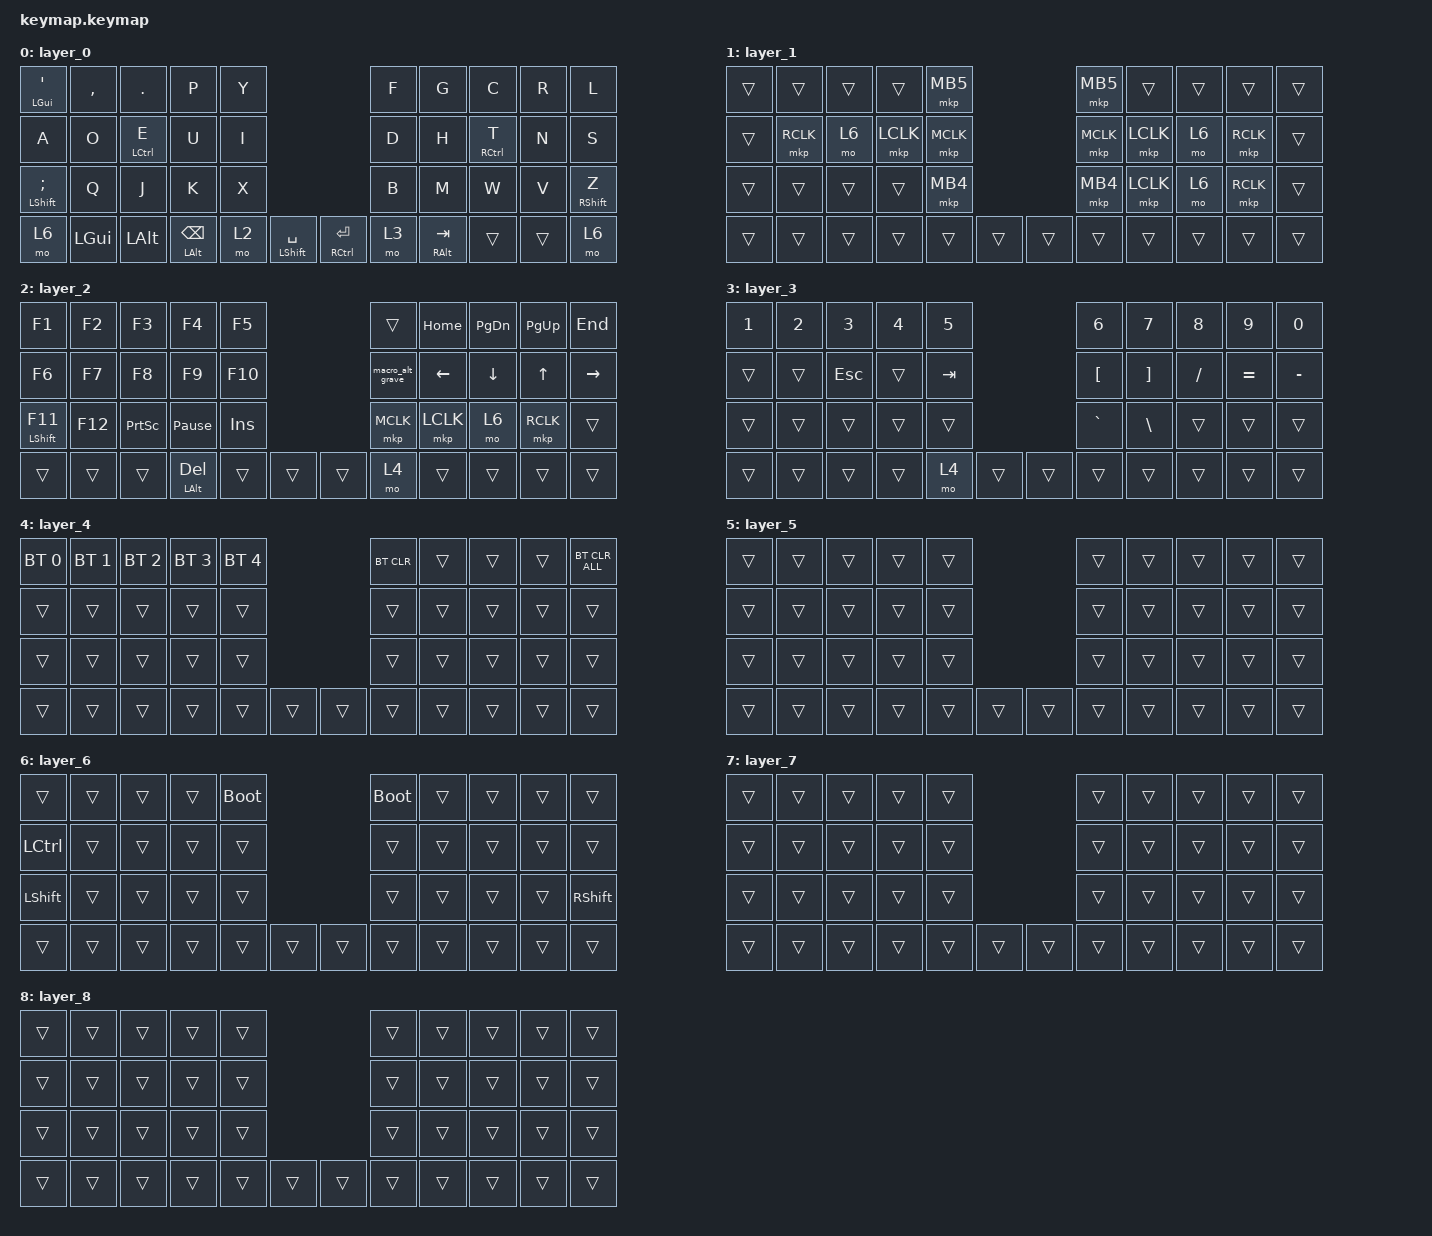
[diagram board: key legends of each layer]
#include <behaviors.dtsi>
#include <dt-bindings/zmk/bt.h>
#include <dt-bindings/zmk/keys.h>
#include <dt-bindings/zmk/outputs.h>
#include <dt-bindings/zmk/pointing.h>
#include <dt-bindings/zmk/behaviors.h>

/ {
    // --- 追加: Mod-Tapの挙動をカスタマイズ ---
    behaviors {
        // デフォルトのMod-Tap(&mt)の挙動を上書きし、QMK風の快適な設定に変更します
        mt: mod_tap {
            compatible = "zmk,behavior-hold-tap";
            #binding-cells = <2>;
            
            // --- ここからがカスタマイズ項目です ---

            // タップとホールドを認識する時間。200msに設定。
            tapping-term-ms = <200>;
            
            // 'tap-preferred'フレーバーを選択。
            // これにより、高速でキーを連続入力（ローリング）した際に、
            // ホールド（モディファイア）が誤爆するのを防ぎます。
            // QMKの`IGNORE_MOD_TAP_INTERRUPT`に近い挙動です。
            flavor = "tap-preferred"; 

            // (オプション) この時間内の素早い連続タップは、強制的にタップとして扱います。
            // これにより、スペースキーやエンターキーの連続タップがより確実になります。
            quick-tap-ms = <150>;

            // --- ここまでがカスタマイズ項目です ---

            bindings = <&kp>, <&kp>;
        };
    };

    // 日本語入力のオンオフで、ChromeでAltキーが暴発するための対策マクロ
    macros {
        macro_alt_grave: macro_alt_grave {
            compatible = "zmk,behavior-macro";
            #binding-cells = <0>;
            wait-ms = <5>;
            tap-ms = <5>;
            bindings =
                <&macro_press &kp LALT>
                , <&macro_tap &kp GRAVE>
                , <&macro_release &kp LALT>
            ;
        };
    };

    keymap {
        compatible = "zmk,keymap";

        layer_0 {
            bindings = <
            &mt LGUI QUOT   &kp COMMA &kp DOT     &kp P          &kp Y                                       &kp F     &kp G        &kp C       &kp R     &kp L
            &kp A           &kp O     &mt LCTRL E &kp U          &kp I                                       &kp D     &kp H        &mt RCTRL T &kp N     &kp S
            &mt LSHIFT SEMI &kp Q     &kp J       &kp K          &kp X                                       &kp B     &kp M        &kp W       &kp V     &mt RSHIFT Z
            &mo 6           &kp LGUI  &kp LALT    &mt LALT BSPC  &mo 2 &mt LSHIFT SPACE      &mt RCTRL ENTER &mo 3     &mt RALT TAB &trans      &trans    &mo 6
            >;
        };

        layer_1 {
            bindings = <
            &trans  &trans     &trans     &trans     &mkp MB5                &mkp MB5     &trans     &trans     &trans     &trans
            &trans  &mkp RCLK  &mo 6      &mkp LCLK  &mkp MCLK               &mkp MCLK    &mkp LCLK  &mo 6      &mkp RCLK  &trans
            &trans  &trans     &trans     &trans     &mkp MB4                &mkp MB4     &mkp LCLK  &mo 6      &mkp RCLK  &trans
            &trans  &trans     &trans     &trans     &trans  &trans  &trans  &trans       &trans     &trans     &trans     &trans
            >;
        };

        layer_2 {
            bindings = <
            &kp F1         &kp F2  &kp F3    &kp F4          &kp F5                  &trans            &kp HOME   &kp PG_DN  &kp PG_UP   &kp END
            &kp F6         &kp F7  &kp F8    &kp F9          &kp F10                 &macro_alt_grave  &kp LEFT   &kp DOWN   &kp UP      &kp RIGHT    
            &mt LSHIFT F11 &kp F12 &kp PSCRN &kp PAUSE_BREAK &kp INS                 &mkp MCLK         &mkp LCLK  &mo 6      &mkp RCLK   &trans
            &trans         &trans  &trans    &mt LALT DEL    &trans  &trans  &trans  &mo 4             &trans     &trans     &trans      &trans       
            >;
        };

        layer_3 {
            bindings = <
            &kp N1  &kp N2  &kp N3  &kp N4  &kp N5                  &kp N6    &kp N7         &kp N8     &kp N9     &kp N0
            &trans  &trans  &kp ESC &trans  &kp TAB                 &kp LBKT  &kp RBKT       &kp SLASH  &kp EQUAL  &kp MINUS
            &trans  &trans  &trans  &trans  &trans                  &kp GRAVE &kp BACKSLASH  &trans     &trans     &trans
            &trans  &trans  &trans  &trans  &mo 4  &trans   &trans  &trans    &trans         &trans     &trans     &trans
            >;
        };

        layer_4 {
            bindings = <
            &bt BT_SEL 0  &bt BT_SEL 1  &bt BT_SEL 2 &bt BT_SEL 3  &bt BT_SEL 4                    &bt BT_CLR  &trans  &trans  &trans  &bt BT_CLR_ALL
            &trans        &trans        &trans       &trans        &trans                          &trans      &trans  &trans  &trans  &trans
            &trans        &trans        &trans       &trans        &trans                          &trans      &trans  &trans  &trans  &trans
            &trans        &trans        &trans       &trans        &trans  &trans          &trans  &trans      &trans  &trans  &trans  &trans
            >;
        };

        layer_5 {
            bindings = <
            &trans  &trans  &trans  &trans  &trans                  &trans  &trans  &trans  &trans  &trans
            &trans  &trans  &trans  &trans  &trans                  &trans  &trans  &trans  &trans  &trans
            &trans  &trans  &trans  &trans  &trans                  &trans  &trans  &trans  &trans  &trans
            &trans  &trans  &trans  &trans  &trans  &trans  &trans  &trans  &trans  &trans  &trans  &trans
            >;
        };

        layer_6 {
            bindings = <
            &trans     &trans  &trans  &trans  &bootloader             &bootloader  &trans  &trans  &trans  &trans
            &kp LCTRL  &trans  &trans  &trans  &trans                  &trans       &trans  &trans  &trans  &trans
            &kp LSHIFT &trans  &trans  &trans  &trans                  &trans       &trans  &trans  &trans  &kp RSHIFT
            &trans     &trans  &trans  &trans  &trans  &trans  &trans  &trans       &trans  &trans  &trans  &trans
            >;
        };

        layer_7 {
            bindings = <
            &trans  &trans  &trans  &trans  &trans                  &trans  &trans  &trans  &trans  &trans
            &trans  &trans  &trans  &trans  &trans                  &trans  &trans  &trans  &trans  &trans
            &trans  &trans  &trans  &trans  &trans                  &trans  &trans  &trans  &trans  &trans
            &trans  &trans  &trans  &trans  &trans  &trans  &trans  &trans  &trans  &trans  &trans  &trans
            >;
        };

        layer_8 {
            bindings = <
            &trans  &trans  &trans  &trans  &trans                  &trans  &trans  &trans  &trans  &trans
            &trans  &trans  &trans  &trans  &trans                  &trans  &trans  &trans  &trans  &trans
            &trans  &trans  &trans  &trans  &trans                  &trans  &trans  &trans  &trans  &trans
            &trans  &trans  &trans  &trans  &trans  &trans  &trans  &trans  &trans  &trans  &trans  &trans
            >;
        };
    };
};
